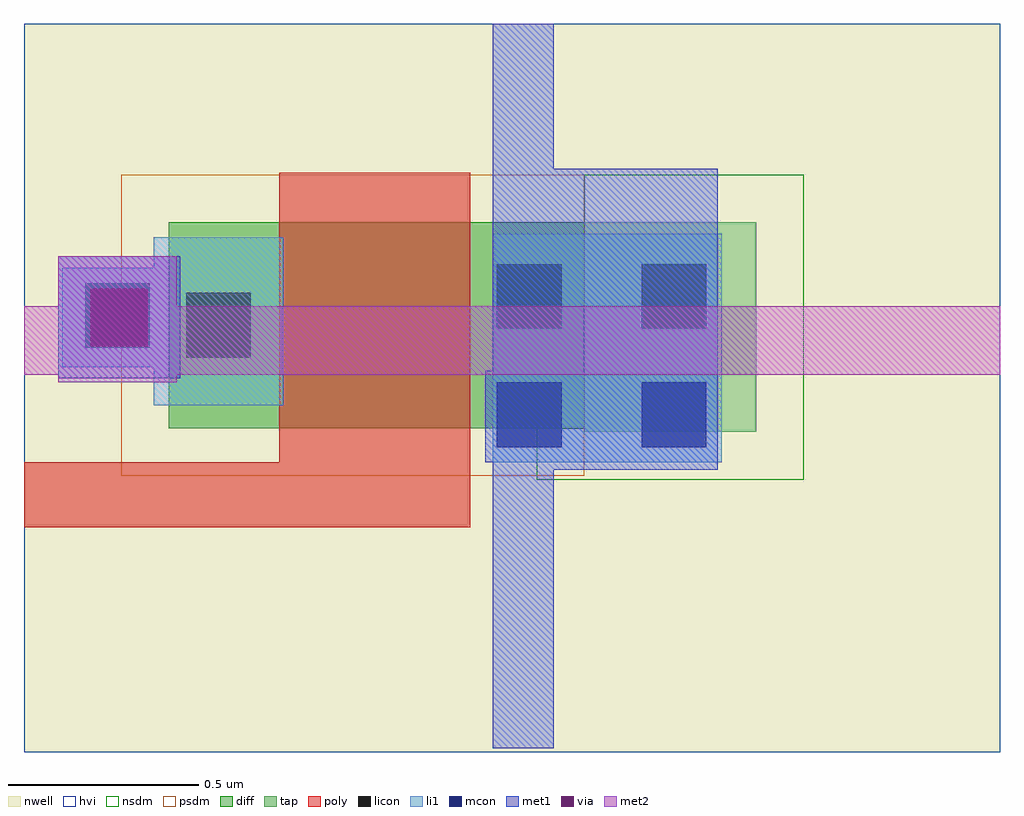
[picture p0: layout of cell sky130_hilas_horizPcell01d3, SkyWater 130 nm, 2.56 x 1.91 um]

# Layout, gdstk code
import gdstk
lib = gdstk.Library(unit=1e-6, precision=1e-09)
def R(c, l, rs):  # rectangles x0, y0, x1, y1
    for r in rs: c.add(gdstk.rectangle(r[:2], r[2:], *l))
nwell = (64, 20)
diff = (65, 20)
tap = (65, 44)
poly = (66, 20)
licon = (66, 44)
li1 = (67, 20)
mcon = (67, 44)
met1 = (68, 20)
via = (68, 44)
met2 = (69, 20)
hvi = (75, 20)
nsdm = (93, 44)
psdm = (94, 20)

sky130_hilas_li2m2 = lib.new_cell('sky130_hilas_li2m2')
R(sky130_hilas_li2m2, li1, [(-0.13,-0.12,0.19,-0.09), (-0.13,-0.09,0.2,0.1), (-0.13,0.1,0.19,0.14)])
R(sky130_hilas_li2m2, mcon, [(-0.07,-0.08,0.1,0.09)])
R(sky130_hilas_li2m2, met1, [(-0.14,-0.15,0.18,0.17)])
R(sky130_hilas_li2m2, via, [(-0.055,-0.065,0.095,0.085)])
R(sky130_hilas_li2m2, met2, [(-0.14,-0.15,0.17,0.18)])

sky130_hilas_horizpcell0 = lib.new_cell('sky130_hilas_horizPcell01d3')
R(sky130_hilas_horizpcell0, nwell, [(-2.89,0.41,-0.33,2.32)])
R(sky130_hilas_horizpcell0, diff, [(-2.51,1.26,-1.42,1.8)])
R(sky130_hilas_horizpcell0, tap, [(-1.42,1.25,-0.97,1.8)])
R(sky130_hilas_horizpcell0, poly, [(-2.89,1,-1.72,1.17), (-2.22,1.17,-1.72,1.93)])
R(sky130_hilas_horizpcell0, licon, [(-2.465,1.445,-2.295,1.615), (-1.65,1.52,-1.48,1.69), (-1.27,1.52,-1.1,1.69)])
R(sky130_hilas_horizpcell0, li1, [(-1.66,1.17,-1.06,1.77), (-2.55,1.32,-2.21,1.76)])
R(sky130_hilas_horizpcell0, mcon, [(-1.65,1.21,-1.48,1.38), (-1.27,1.21,-1.1,1.38)])
R(sky130_hilas_horizpcell0, met1, [(-1.66,0.42,-1.5,1.15), (-1.66,1.15,-1.07,1.17), (-1.68,1.17,-1.07,1.41), (-1.66,1.41,-1.07,1.94), (-1.66,1.94,-1.5,2.32)])
R(sky130_hilas_horizpcell0, met2, [(-2.89,1.4,-2.8,1.58), (-2.5,1.4,-0.33,1.58)])
R(sky130_hilas_horizpcell0, hvi, [(-2.89,0.41,-0.33,2.32)])
R(sky130_hilas_horizpcell0, nsdm, [(-1.545,1.125,-0.845,1.26), (-1.42,1.26,-0.845,1.925)])
R(sky130_hilas_horizpcell0, psdm, [(-2.635,1.135,-1.42,1.925)])
sky130_hilas_horizpcell0.add(gdstk.Reference(sky130_hilas_li2m2, (-2.66,1.56), x_reflection=True))

lib.write_gds('sky130_hilas_horizPcell01d3.gds')
